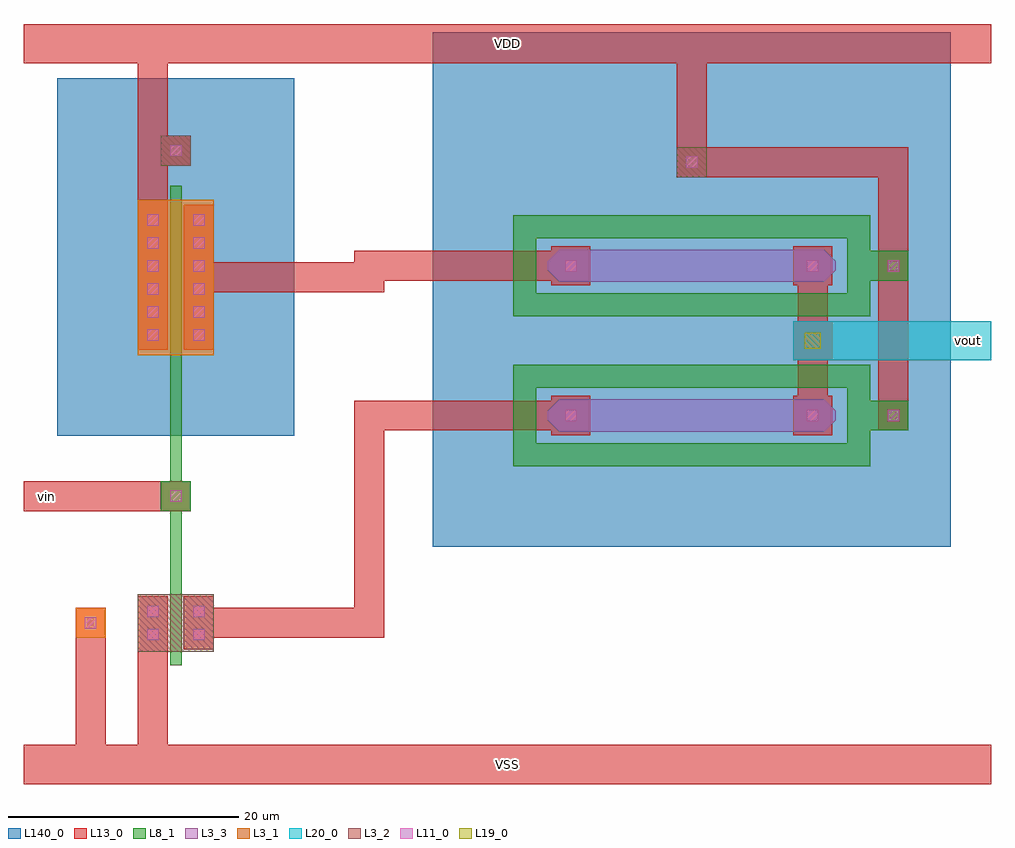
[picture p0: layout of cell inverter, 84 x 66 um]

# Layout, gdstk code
import gdstk
lib = gdstk.Library(unit=1e-6, precision=1e-09)
def R(c, l, rs):  # rectangles x0, y0, x1, y1
    for r in rs: c.add(gdstk.rectangle(r[:2], r[2:], *l))
def A(c, l, x, y, w, h, nx, ny, dx, dy):  # array of equal rectangles
    R(c, l, [(x+i*dx, y+j*dy, x+i*dx+w, y+j*dy+h) for i in range(nx) for j in range(ny)])
def P(c, l, *ps):  # polygons
    for p in ps: c.add(gdstk.Polygon(p, *l))
L3_1 = (3, 1)
L3_2 = (3, 2)
L3_3 = (3, 3)
L8_1 = (8, 1)
L11_0 = (11, 0)
L13_0 = (13, 0)
L19_0 = (19, 0)
L20_0 = (20, 0)
L140_0 = (140, 0)

fet_p = lib.new_cell('fet_p')
R(fet_p, L3_1, [(-3.3,-6.75,3.3,6.75)])
A(fet_p, L11_0, -2.5, -5.5, 1, 1, 1, 6, 0, 2)
A(fet_p, L11_0, 1.5, -5.5, 1, 1, 1, 6, 0, 2)
R(fet_p, L13_0, [(-3.3,-6.3,-0.7,6.3), (0.7,-6.3,3.3,6.3)])
fet_p.add(gdstk.FlexPath([(0,-7.95),(0,7.95)], 1, ends="flush", simple_path=True, layer=8, datatype=1))  # L8_1

fet_n = lib.new_cell('fet_n')
R(fet_n, L3_2, [(-3.3,-2.5,3.3,2.5)])
R(fet_n, L11_0, [(-2.5,-1.5,-1.5,-0.5), (1.5,-1.5,2.5,-0.5), (-2.5,0.5,-1.5,1.5), (1.5,0.5,2.5,1.5)])
R(fet_n, L13_0, [(-3.3,-2.3,-0.7,2.3), (0.7,-2.3,3.3,2.3)])
fet_n.add(gdstk.FlexPath([(0,-3.7),(0,3.7)], 1, ends="flush", simple_path=True, layer=8, datatype=1))  # L8_1

res_diff = lib.new_cell('res_diff')
P(res_diff, L3_3, [(-11.5,-1.4),(-12.5,-0.4),(-12.5,0.4),(-11.5,1.4),(11.5,1.4),(12.5,0.4),(12.5,-0.4),(11.5,-1.4)])
P(res_diff, L8_1, [(-15.5,-4.4),(-15.5,2.4),(-13.5,2.4),(-13.5,-2.4),(13.5,-2.4),(13.5,2.4),(-15.5,2.4),(-15.5,4.4),(15.5,4.4),(15.5,-4.4)])
R(res_diff, L11_0, [(-11,-0.5,-10,0.5), (10,-0.5,11,0.5)])
R(res_diff, L13_0, [(-12.2,-1.7,-8.8,1.7), (8.8,-1.7,12.2,1.7)])

cont_n = lib.new_cell('cont_n')
R(cont_n, L3_2, [(-1.3,-1.3,1.3,1.3)])
R(cont_n, L11_0, [(-0.5,-0.5,0.5,0.5)])
R(cont_n, L13_0, [(-1.3,-1.3,1.3,1.3)])

cont_p = lib.new_cell('cont_p')
R(cont_p, L3_1, [(-1.3,-1.3,1.3,1.3)])
R(cont_p, L11_0, [(-0.5,-0.5,0.5,0.5)])
R(cont_p, L13_0, [(-1.3,-1.3,1.3,1.3)])

cont_g = lib.new_cell('cont_g')
R(cont_g, L8_1, [(-1.3,-1.3,1.3,1.3)])
R(cont_g, L11_0, [(-0.5,-0.5,0.5,0.5)])
R(cont_g, L13_0, [(-1.3,-1.3,1.3,1.3)])

via_1 = lib.new_cell('via_1')
R(via_1, L13_0, [(-1.7,-1.7,1.7,1.7)])
R(via_1, L19_0, [(-0.7,-0.7,0.7,0.7)])
R(via_1, L20_0, [(-1.7,-1.7,1.7,1.7)])

inverter = lib.new_cell('inverter')
R(inverter, L8_1, [(12.7,13.5,13.7,44.5), (72.2,30.7,76.8,33.3), (72.2,43.7,76.8,46.3)])
R(inverter, L13_0, [(0,0,84,3.4), (4.5,0.4,7.1,15.3), (9.9,0.4,12.5,15.3), (13.9,12.7,31.3,15.3), (28.7,12.7,31.3,33.3), (0,23.7,13.2,26.3), (28.7,30.7,48.8,33.3), (67.2,30.7,69.8,46.3), (74.2,30.7,76.8,55.3), (9.9,42.7,12.5,65.6), (13.9,42.7,31.3,45.3), (28.7,42.7,31.3,46.3), (28.7,43.7,48.8,46.3), (56.7,52.7,59.3,65.6), (56.7,52.7,76.8,55.3), (9.9,53.7,14.5,56.3), (0,62.6,84,66)])
R(inverter, L20_0, [(68.5,36.8,84,40.2)])
R(inverter, L140_0, [(35.5,20.6,80.5,65.3), (2.9,30.25,23.5,61.3)])
inverter.add(gdstk.Reference(fet_p, (13.2,44)))
inverter.add(gdstk.Reference(fet_n, (13.2,14)))
inverter.add(gdstk.Reference(res_diff, (58,45)))
inverter.add(gdstk.Reference(res_diff, (58,32)))
inverter.add(gdstk.Reference(cont_n, (13.2,55)))
inverter.add(gdstk.Reference(cont_n, (58,54)))
inverter.add(gdstk.Reference(cont_p, (5.8,14)))
inverter.add(gdstk.Reference(cont_g, (75.5,32)))
inverter.add(gdstk.Reference(cont_g, (75.5,45)))
inverter.add(gdstk.Reference(cont_g, (13.2,25)))
inverter.add(gdstk.Reference(via_1, (68.5,38.5)))
inverter.add(gdstk.Label('vin', (2,25), layer=48, texttype=0))
inverter.add(gdstk.Label('VDD', (42,64.3), layer=48, texttype=0))
inverter.add(gdstk.Label('VSS', (42,1.7), layer=48, texttype=0))
inverter.add(gdstk.Label('vout', (82,38.5), layer=49, texttype=0))

lib.write_gds('inverter.gds')
